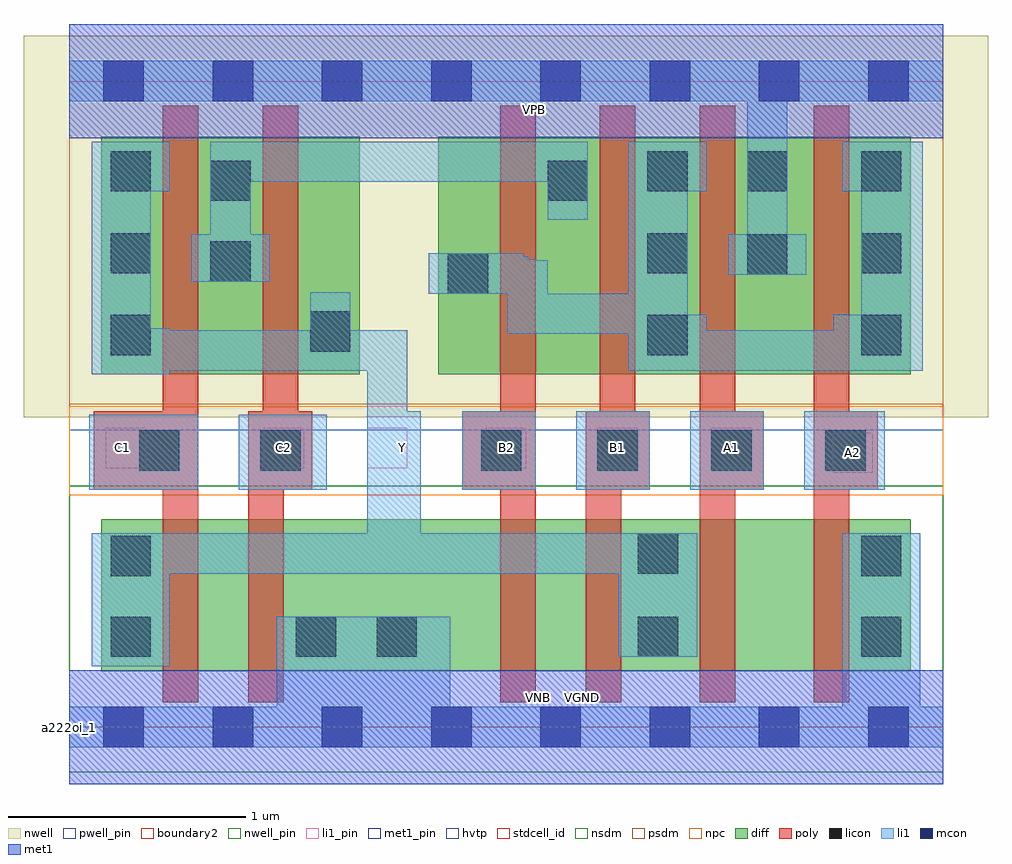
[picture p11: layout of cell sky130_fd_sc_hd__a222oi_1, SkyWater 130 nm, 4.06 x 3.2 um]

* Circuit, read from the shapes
.subckt sky130_fd_sc_hd__a222oi_1 A1 A2 B1 B2 C1 C2 VGND VNB VPB VPWR Y
XM1 n1 C1 Y VNB sky130_fd_pr__nfet_01v8 w=0.64 l=0.15
XM2 VGND C2 n1 VNB sky130_fd_pr__nfet_01v8 w=0.64 l=0.15
XM3 n2 B2 VGND VNB sky130_fd_pr__nfet_01v8 w=0.64 l=0.15
XM4 Y B1 n2 VNB sky130_fd_pr__nfet_01v8 w=0.64 l=0.15
XM5 n3 A1 Y VNB sky130_fd_pr__nfet_01v8 w=0.64 l=0.15
XM6 VGND A2 n3 VNB sky130_fd_pr__nfet_01v8 w=0.64 l=0.15
XM7 n4 C1 Y VPB sky130_fd_pr__pfet_01v8_hvt w=1 l=0.15
XM8 Y C2 n4 VPB sky130_fd_pr__pfet_01v8_hvt w=1 l=0.15
XM9 n4 B2 n5 VPB sky130_fd_pr__pfet_01v8_hvt w=1 l=0.15
XM10 n5 B1 n4 VPB sky130_fd_pr__pfet_01v8_hvt w=1 l=0.15
XM11 VPWR A1 n5 VPB sky130_fd_pr__pfet_01v8_hvt w=1 l=0.15
XM12 n5 A2 VPWR VPB sky130_fd_pr__pfet_01v8_hvt w=1 l=0.15
.ends

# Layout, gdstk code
import gdstk
lib = gdstk.Library(unit=1e-6, precision=1e-09)
def R(c, l, rs):  # rectangles x0, y0, x1, y1
    for r in rs: c.add(gdstk.rectangle(r[:2], r[2:], *l))
def A(c, l, x, y, w, h, nx, ny, dx, dy):  # array of equal rectangles
    R(c, l, [(x+i*dx, y+j*dy, x+i*dx+w, y+j*dy+h) for i in range(nx) for j in range(ny)])
def P(c, l, *ps):  # polygons
    for p in ps: c.add(gdstk.Polygon(p, *l))
nwell_pin = (64, 16)
nwell = (64, 20)
diff = (65, 20)
poly = (66, 20)
licon = (66, 44)
li1_pin = (67, 16)
li1 = (67, 20)
mcon = (67, 44)
met1_pin = (68, 16)
met1 = (68, 20)
hvtp = (78, 44)
stdcell_id = (81, 4)
nsdm = (93, 44)
psdm = (94, 20)
npc = (95, 20)
pwell_pin = (122, 16)
boundary2 = (236, 0)

sky130_fd_sc_hd__a222oi_ = lib.new_cell('sky130_fd_sc_hd__a222oi_1')
R(sky130_fd_sc_hd__a222oi_, nwell_pin, [(0,2.48,3.68,2.72)])
R(sky130_fd_sc_hd__a222oi_, nwell, [(-0.19,1.305,3.87,2.91)])
R(sky130_fd_sc_hd__a222oi_, diff, [(0.135,0.235,3.545,0.875), (0.135,1.485,1.225,2.485), (1.555,1.485,3.545,2.485)])
P(sky130_fd_sc_hd__a222oi_, poly, [(0.545,2.615),(0.395,2.615),(0.395,1.33),(0.105,1.33),(0.105,1),(0.395,1),(0.395,0.105),(0.545,0.105)],
  [(1.025,1.33),(0.965,1.33),(0.965,2.615),(0.815,2.615),(0.815,1.33),(0.755,1.33),(0.755,0.105),(0.905,0.105),(0.905,1),(1.025,1)],
  [(1.965,2.615),(1.815,2.615),(1.815,1.33),(1.655,1.33),(1.655,1),(1.815,1),(1.815,0.105),(1.965,0.105)],
  [(2.445,1.33),(2.385,1.33),(2.385,2.615),(2.235,2.615),(2.235,1.33),(2.175,1.33),(2.175,0.105),(2.325,0.105),(2.325,1),(2.445,1)],
  [(2.925,1.33),(2.805,1.33),(2.805,2.615),(2.655,2.615),(2.655,0.105),(2.805,0.105),(2.805,1),(2.925,1)],
  [(3.405,1.33),(3.285,1.33),(3.285,2.615),(3.135,2.615),(3.135,0.105),(3.285,0.105),(3.285,1),(3.405,1)])
A(sky130_fd_sc_hd__a222oi_, licon, 2.225, 1.08, 0.17, 0.17, 3, 1, 0.48, 0)
A(sky130_fd_sc_hd__a222oi_, licon, 0.175, 1.565, 0.17, 0.17, 1, 3, 0, 0.345)
A(sky130_fd_sc_hd__a222oi_, licon, 2.435, 1.565, 0.17, 0.17, 1, 3, 0, 0.345)
A(sky130_fd_sc_hd__a222oi_, licon, 3.335, 1.565, 0.17, 0.17, 1, 3, 0, 0.345)
R(sky130_fd_sc_hd__a222oi_, licon, [(0.175,0.295,0.345,0.465), (0.955,0.295,1.125,0.465), (1.295,0.295,1.465,0.465), (2.395,0.295,2.565,0.465), (3.335,0.295,3.505,0.465), (0.175,0.635,0.345,0.805), (3.335,0.635,3.505,0.805), (2.395,0.645,2.565,0.815), (0.295,1.08,0.465,1.25), (0.805,1.08,0.975,1.25), (1.735,1.08,1.905,1.25), (1.015,1.58,1.185,1.75), (1.595,1.825,1.765,1.995), (0.595,1.875,0.765,2.045), (2.855,1.905,3.025,2.075), (0.595,2.215,0.765,2.385), (2.015,2.215,2.185,2.385), (2.855,2.255,3.025,2.425)])
R(sky130_fd_sc_hd__a222oi_, li1_pin, [(3.215,1.07,3.385,1.24), (0.155,1.09,0.325,1.26), (0.82,1.09,0.99,1.26), (1.255,1.09,1.425,1.26), (1.755,1.09,1.925,1.26), (2.225,1.09,2.395,1.26), (2.705,1.09,2.875,1.26)])
A(sky130_fd_sc_hd__a222oi_, li1, 1.655, 1, 0.31, 0.33, 3, 1, 0.48, 0)
R(sky130_fd_sc_hd__a222oi_, li1, [(0.085,1,0.545,1.315), (0.715,1,1.085,1.315), (3.095,1,3.435,1.33)])
P(sky130_fd_sc_hd__a222oi_, li1, [(2.185,2.465),(0.595,2.465),(0.595,2.075),(0.515,2.075),(0.515,1.875),(0.845,1.875),(0.845,2.075),(0.765,2.075),(0.765,2.295),(2.015,2.295),(2.015,2.135),(2.185,2.135)],
  [(2.645,0.815),(1.48,0.815),(1.48,1.33),(1.425,1.33),(1.425,1.67),(1.185,1.67),(1.185,1.83),(1.015,1.83),(1.015,1.67),(0.425,1.67),(0.425,1.68),(0.345,1.68),(0.345,2.255),(0.425,2.255),(0.425,2.465),(0.095,2.465),(0.095,1.485),(0.425,1.485),(0.425,1.5),(1.255,1.5),(1.255,0.815),(0.095,0.815),(0.095,0.255),(0.425,0.255),(0.425,0.645),(2.315,0.645),(2.315,0.295),(2.645,0.295)],
  [(3.595,2.465),(3.255,2.465),(3.255,2.255),(3.335,2.255),(3.335,1.735),(3.22,1.735),(3.22,1.67),(2.685,1.67),(2.685,1.735),(2.605,1.735),(2.605,2.255),(2.685,2.255),(2.685,2.465),(2.355,2.465),(2.355,1.825),(2.015,1.825),(2.015,1.965),(1.97,1.965),(1.97,1.97),(1.935,1.97),(1.935,1.98),(1.915,1.98),(1.915,1.995),(1.515,1.995),(1.515,1.825),(1.845,1.825),(1.845,1.655),(2.355,1.655),(2.355,1.5),(3.595,1.5)],
  [(3.68,2.805),(0,2.805),(0,2.635),(2.855,2.635),(2.855,2.075),(2.775,2.075),(2.775,1.905),(3.105,1.905),(3.105,2.075),(3.025,2.075),(3.025,2.635),(3.68,2.635)],
  [(3.68,0.085),(3.585,0.085),(3.585,0.815),(3.255,0.815),(3.255,0.085),(1.605,0.085),(1.605,0.465),(0.875,0.465),(0.875,0.085),(0,0.085),(0,-0.085),(3.68,-0.085)])
A(sky130_fd_sc_hd__a222oi_, mcon, 0.145, -0.085, 0.17, 0.17, 8, 2, 0.46, 2.72)
R(sky130_fd_sc_hd__a222oi_, met1_pin, [(0,0,3.68,0.24), (0,2.48,3.68,2.72)])
R(sky130_fd_sc_hd__a222oi_, met1, [(0,-0.24,3.68,0.24), (0,2.48,3.68,2.96)])
R(sky130_fd_sc_hd__a222oi_, hvtp, [(0,1.25,3.68,2.72)])
R(sky130_fd_sc_hd__a222oi_, stdcell_id, [(0,0,3.68,2.72)])
R(sky130_fd_sc_hd__a222oi_, nsdm, [(0,-0.19,3.68,1.015)])
R(sky130_fd_sc_hd__a222oi_, psdm, [(0,1.36,3.68,2.91)])
R(sky130_fd_sc_hd__a222oi_, npc, [(0,0.975,3.68,1.35)])
R(sky130_fd_sc_hd__a222oi_, pwell_pin, [(0,0,3.68,0.24)])
R(sky130_fd_sc_hd__a222oi_, boundary2, [(0,0,3.68,2.72)])
sky130_fd_sc_hd__a222oi_.add(gdstk.Label('a222oi_1', (0,0), layer=83, texttype=44))
sky130_fd_sc_hd__a222oi_.add(gdstk.Label('VNB', (1.975,0.123), layer=64, texttype=59))
sky130_fd_sc_hd__a222oi_.add(gdstk.Label('VPB', (1.96,2.598), layer=64, texttype=5))
sky130_fd_sc_hd__a222oi_.add(gdstk.Label('VPWR', (1.93,2.598), layer=68, texttype=5))
sky130_fd_sc_hd__a222oi_.add(gdstk.Label('VGND', (2.16,0.123), layer=68, texttype=5))
sky130_fd_sc_hd__a222oi_.add(gdstk.Label('C2', (0.905,1.175), layer=67, texttype=5))
sky130_fd_sc_hd__a222oi_.add(gdstk.Label('C1', (0.225,1.175), layer=67, texttype=5))
sky130_fd_sc_hd__a222oi_.add(gdstk.Label('B1', (2.31,1.175), layer=67, texttype=5))
sky130_fd_sc_hd__a222oi_.add(gdstk.Label('A2', (3.3,1.155), layer=67, texttype=5))
sky130_fd_sc_hd__a222oi_.add(gdstk.Label('A1', (2.79,1.175), layer=67, texttype=5))
sky130_fd_sc_hd__a222oi_.add(gdstk.Label('Y', (1.405,1.175), layer=67, texttype=5))
sky130_fd_sc_hd__a222oi_.add(gdstk.Label('B2', (1.84,1.175), layer=67, texttype=5))

lib.write_gds('sky130_fd_sc_hd__a222oi_1.gds')
